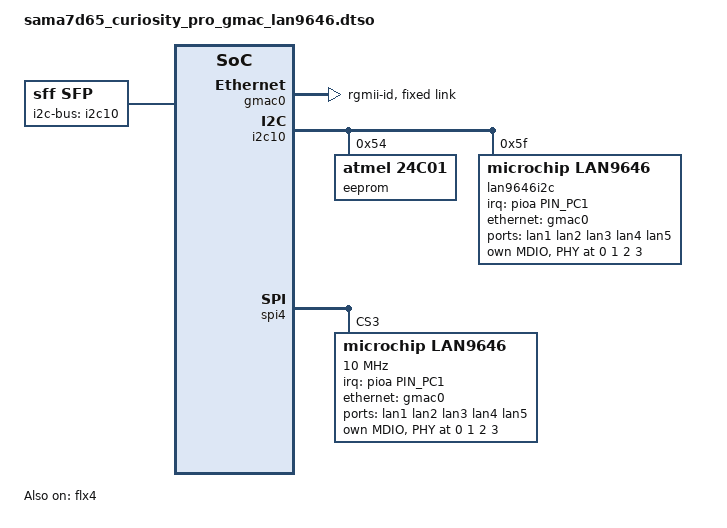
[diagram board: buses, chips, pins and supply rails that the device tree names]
// SPDX-License-Identifier: (GPL-2.0+ OR MIT)
/*
 * Device Tree file for SAMA7D65 CURIOSITY-PRO board overlay blob supporting the
 * LAN9646 6-port Gigabit switch Daughter Card using I2C or SPI and RGMII.
 *
 * Copyright (C) 2025 Microchip Technology Inc. and its subsidiaries
 *
 * Author: Ryan Wanner <ryan.wanner@microchip.com>
 *
 * Refer to the EV94T99A (LAN9646-EDS2 daughter card)
 *
 */
/dts-v1/;
/plugin/;
#include "sama7d65-pinfunc.h"
#include <dt-bindings/mfd/atmel-flexcom.h>
#include <dt-bindings/clock/at91.h>
#include <dt-bindings/pinctrl/at91.h>
#include <dt-bindings/gpio/gpio.h>
#include <dt-bindings/interrupt-controller/irq.h>

&{/}
{
	model = "Microchip SAMA7D65 Curiosity Pro LAN9646 Gigabit Switch";

	sfp: sfp {
		compatible = "sff,sfp";
		i2c-bus = <&i2c10>;
	};
};

&flx4 {
	atmel,flexcom-mode = <ATMEL_FLEXCOM_MODE_SPI>;
	status = "okay";
};

&gmac0 {
	#address-cells = <1>;
	#size-cells = <0>;
	pinctrl-names = "default";
	pinctrl-0 = <&pinctrl_gmac0_default
		     &pinctrl_gmac0_mdio_default
		     &pinctrl_gmac0_txck_default
		     &pinctrl_gmac0_phy_irq>;
	phy-mode = "rgmii-id";
	status = "okay";

	fixed-link {
		speed = <1000>;
		full-duplex;
		pause;
	};
};

&i2c10 {
	#address-cells = <1>;
	#size-cells = <0>;
	dmas = <0>, <0>;
	status = "okay";

	eeprom@54 {
		compatible = "atmel,24c01";
		reg = <0x54>;
		pagesize = <8>;
		status = "okay";
	};

	lan9646i2c: lan9646i-switch@5f {
		compatible = "microchip,lan9646";
		reg = <0x5f>;
		interrupt-parent = <&pioa>;
		interrupts = <PIN_PC1 IRQ_TYPE_LEVEL_LOW>;
		status = "okay";

		ports {
			#address-cells = <1>;
			#size-cells = <0>;
			port@0 {
				reg = <0>;
				label = "lan1";
				phy-handle = <&swphy_0>;
			};
			port@1 {
				reg = <1>;
				label = "lan2";
				phy-handle = <&swphy_1>;
			};
			port@2 {
				reg = <2>;
				label = "lan3";
				phy-handle = <&swphy_2>;
			};
			port@3 {
				reg = <3>;
				label = "lan4";
				phy-handle = <&swphy_3>;
			};
			port@4 {
				reg = <5>;
				phy-mode = "rgmii-id";
				rx-internal-delay-ps = <2000>;
				tx-internal-delay-ps = <2000>;
				ethernet = <&gmac0>;

				fixed-link {
					speed = <1000>;
					full-duplex;
					pause;
				};
			};
			port@5 {
				reg = <6>;
				label = "lan5";
				phy-mode = "sgmii";
				sfp = <&sfp>;
				managed = "in-band-status";
			};
		};
		mdio {
			#address-cells = <1>;
			#size-cells = <0>;
			swphy_0: ethernet-phy@0 {
				reg = <0>;
				eee-broken-100tx;
				eee-broken-1000t;
			};
			swphy_1: ethernet-phy@1 {
				reg = <1>;
				eee-broken-100tx;
				eee-broken-1000t;
			};
			swphy_2: ethernet-phy@2 {
				reg = <2>;
				eee-broken-100tx;
				eee-broken-1000t;
			};
			swphy_3: ethernet-phy@3 {
				reg = <3>;
				eee-broken-100tx;
				eee-broken-1000t;
			};
		};
	};
};

&pioa {
	pinctrl_gmac0_default: gmac0-default {
		pinmux = <PIN_PA26__G0_TX0>,
			 <PIN_PA27__G0_TX1>,
			 <PIN_PB4__G0_TX2>,
			 <PIN_PB5__G0_TX3>,
			 <PIN_PA29__G0_RX0>,
			 <PIN_PA30__G0_RX1>,
			 <PIN_PB2__G0_RX2>,
			 <PIN_PB6__G0_RX3>,
			 <PIN_PA25__G0_TXCTL>,
			 <PIN_PB3__G0_RXCK>,
			 <PIN_PA28__G0_RXCTL>;
		slew-rate = <0>;
		bias-disable;
	};

	pinctrl_gmac0_mdio_default: gmac0-mdio-default {
		pinmux = <PIN_PA31__G0_MDC>,
			 <PIN_PB0__G0_MDIO>;
		bias-disable;
	};

	pinctrl_gmac0_phy_irq: gmac0-phy-irq {
		pinmux = <PIN_PC1__GPIO>;
		bias-disable;
	};

	pinctrl_gmac0_txck_default: gmac0-txck-default {
		pinmux = <PIN_PB1__G0_REFCK>;
		slew-rate = <0>;
		bias-pull-up;
	};

	pinctrl_spi4_default: spi4-default{
		pinmux = <PIN_PA18__FLEXCOM4_IO0>,	/* MOSI */
			 <PIN_PA17__FLEXCOM4_IO1>,	/* MISO */
			 <PIN_PA16__FLEXCOM4_IO2>,	/* SPCK */
			 <PIN_PA15__FLEXCOM4_IO3>,	/* CS0 */
			 <PIN_PA14__FLEXCOM4_IO4>,	/* CS1 */
			 <PIN_PA19__FLEXCOM4_IO5>,	/* CS2 */
			 <PIN_PA20__FLEXCOM4_IO6>;	/* CS3 */
		bias-disable;
	};
};

&spi4 {
	#address-cells = <1>;
	#size-cells = <0>;
	pinctrl-names = "default";
	pinctrl-0 = <&pinctrl_spi4_default>;
	status = "okay";

	lan9646: lan9646-switch@3 {
		compatible = "microchip,lan9646";
		reg = <3>;
		interrupt-parent = <&pioa>;
		interrupts = <PIN_PC1 IRQ_TYPE_LEVEL_LOW>;
		spi-max-frequency = <10000000>;		/* 10MHz until proven */
		spi-cpha;
		spi-cpol;
		status = "okay";

		ports {
			#address-cells = <1>;
			#size-cells = <0>;
			port@0 {
				reg = <0>;
				label = "lan1";
				phy-handle = <&swphy0>;
			};
			port@1 {
				reg = <1>;
				label = "lan2";
				phy-handle = <&swphy1>;
			};
			port@2 {
				reg = <2>;
				label = "lan3";
				phy-handle = <&swphy2>;
			};
			port@3 {
				reg = <3>;
				label = "lan4";
				phy-handle = <&swphy3>;
			};
			port@4 {
				reg = <5>;
				phy-mode = "rgmii-id";
				rx-internal-delay-ps = <2000>;
				tx-internal-delay-ps = <2000>;
				ethernet = <&gmac0>;
				fixed-link {
					speed = <1000>;
					full-duplex;
					pause;
				};
			};
			port@5 {
				reg = <6>;
				label = "lan5";
				phy-mode = "sgmii";
				sfp = <&sfp>;
				managed = "in-band-status";
			};
		};
		mdio {
			#address-cells = <1>;
			#size-cells = <0>;
			swphy0: ethernet-phy@0 {
				reg = <0>;
				eee-broken-100tx;
				eee-broken-1000t;
			};
			swphy1: ethernet-phy@1 {
				reg = <1>;
				eee-broken-100tx;
				eee-broken-1000t;
			};
			swphy2: ethernet-phy@2 {
				reg = <2>;
				eee-broken-100tx;
				eee-broken-1000t;
			};
			swphy3: ethernet-phy@3 {
				reg = <3>;
				eee-broken-100tx;
				eee-broken-1000t;
			};
		};
	};
};
